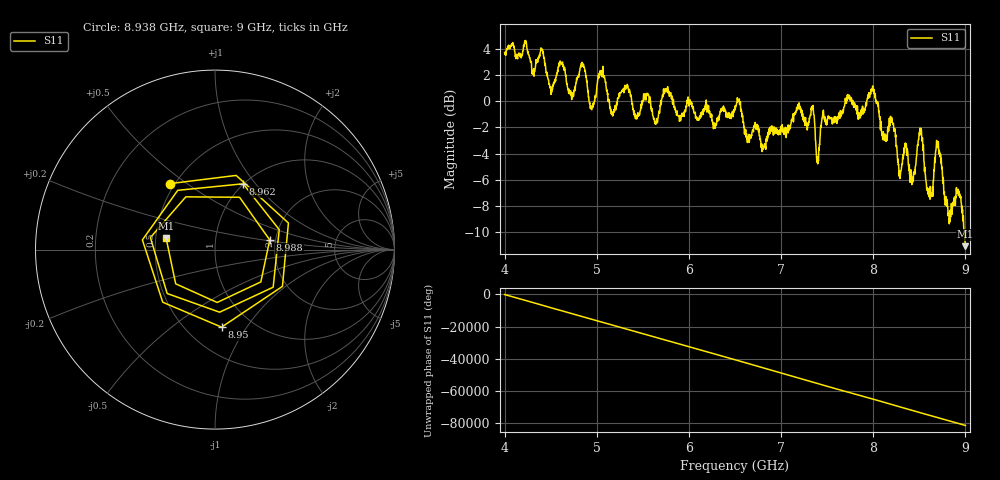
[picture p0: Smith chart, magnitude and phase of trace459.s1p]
! Created with skrf 1.8.0 (http://scikit-rf.org).
# Hz S RI R 50.0
!freq ReS11 ImS11
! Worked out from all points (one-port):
!   1601 points, 4 GHz to 9 GHz, reference 50 ohm
!   lowest |S11| = -11.0 dB at 9 GHz (marker M1), VSWR 1.78, Z = 28.4 + j4.02 ohm
!   |S11| at or under -10 dB: 8.985861 GHz to end of sweep
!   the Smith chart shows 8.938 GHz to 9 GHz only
!   S11 on the Smith chart (normalised r, x): 8.938 GHz: 0.47, +0.43; 8.95 GHz: 0.73, -0.77; 8.962 GHz: 0.99, +0.87; 8.988 GHz: 1.86, +0.22; 9 GHz: 0.57, +0.08
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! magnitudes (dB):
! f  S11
! 4 GHz  3.7
! 4.625 GHz  2.8
! 4.728 GHz  0.1
! 4.85 GHz  2.8
! 4.944 GHz  -0.6
! 5.044 GHz  2.1
! 5.166 GHz  -1.0
! 5.25 GHz  0.6
! 5.875 GHz  -1.1
! 6.5 GHz  -0.4
! 6.809 GHz  -3.6
! 7.125 GHz  -1.3
! 7.338 GHz  -0.6
! 7.397 GHz  -4.8
! 7.75 GHz  0.1
! 7.997 GHz  1.0
! 8.284 GHz  -5.4
! 8.375 GHz  -3.9
! 8.438 GHz  -5.4
! 8.512 GHz  -2.3
! 8.603 GHz  -7.3
! 8.7 GHz  -3.3
! 8.816 GHz  -8.6
! 8.938 GHz  -7.1
! 8.95 GHz  -7.3
! 8.962 GHz  -8.0
! 8.988 GHz  -10.2
! 9 GHz  -11.0
